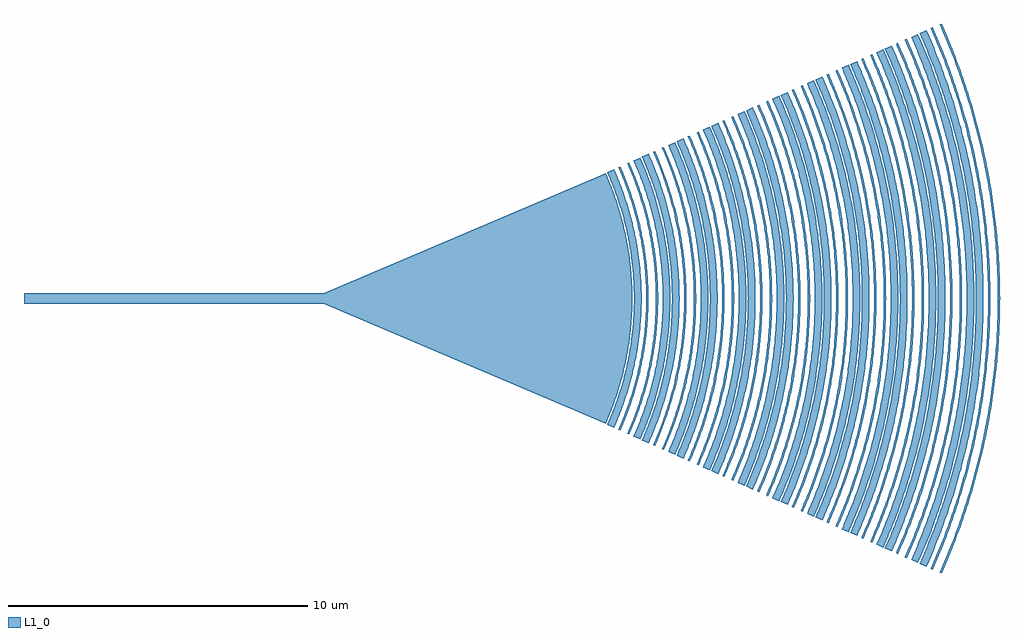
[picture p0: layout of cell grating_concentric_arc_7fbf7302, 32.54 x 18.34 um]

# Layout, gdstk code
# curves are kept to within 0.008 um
import gdstk
lib = gdstk.Library(unit=1e-6, precision=2e-09)
def R(c, l, rs):  # rectangles x0, y0, x1, y1
    for r in rs: c.add(gdstk.rectangle(r[:2], r[2:], *l))
def P(c, l, *ps):  # polygons
    for p in ps: c.add(gdstk.Polygon(p, *l))
L1_0 = (1, 0)

straight_3aa2beef = lib.new_cell('straight_3aa2beef')
R(straight_3aa2beef, L1_0, [(0,-0.174,10,0.174)])

ring_e8b8a9f1_transform_ = lib.new_cell('ring_e8b8a9f1_transform_94132f5b')
P(ring_e8b8a9f1_transform_, L1_0, [(8.222,-3.66),(8.384,-3.274),(8.56,-2.782),(8.694,-2.33),(8.804,-1.872),(8.89,-1.408),(8.946,-0.992),(8.982,-0.576),(9,-0.104),(8.988,0.472),(8.962,0.836),(8.898,1.356),(8.804,1.872),(8.694,2.33),(8.56,2.782),(8.384,3.274),(8.222,3.66),(9.39,4.182),(9.64,3.572),(9.882,2.834),(10.056,2.138),(10.172,1.49),(10.246,0.836),(10.28,0.06),(10.272,-0.418),(10.246,-0.836),(10.172,-1.49),(10.056,-2.138),(9.882,-2.834),(9.64,-3.572),(9.39,-4.182)])

ring_06771d5b_transform_ = lib.new_cell('ring_06771d5b_transform_692c3cdb')
P(ring_06771d5b_transform_, L1_0, [(9.446,-4.206),(9.674,-3.65),(9.834,-3.196),(9.988,-2.676),(10.088,-2.268),(10.182,-1.796),(10.27,-1.2),(10.306,-0.842),(10.336,-0.3),(10.336,0.3),(10.306,0.842),(10.222,1.558),(10.15,1.972),(10.018,2.56),(9.834,3.196),(9.674,3.65),(9.446,4.206),(9.674,4.308),(9.908,3.738),(10.09,3.214),(10.26,2.622),(10.358,2.202),(10.45,1.718),(10.544,0.984),(10.578,0.492),(10.588,-0.184),(10.554,-0.862),(10.478,-1.534),(10.358,-2.202),(10.196,-2.86),(9.972,-3.564),(9.674,-4.308)])

ring_a8151607_transform_ = lib.new_cell('ring_a8151607_transform_0db56127')
P(ring_a8151607_transform_, L1_0, [(9.816,-4.37),(10.01,-3.91),(10.24,-3.262),(10.38,-2.782),(10.512,-2.234),(10.624,-1.62),(10.688,-1.124),(10.732,-0.562),(10.746,-0.126),(10.738,0.438),(10.706,0.936),(10.642,1.496),(10.572,1.928),(10.412,2.66),(10.24,3.262),(10.01,3.91),(9.816,4.37),(9.88,4.4),(10.098,3.876),(10.306,3.282),(10.448,2.8),(10.58,2.248),(10.702,1.568),(10.764,1.068),(10.802,0.566),(10.816,-0.126),(10.79,-0.754),(10.736,-1.318),(10.652,-1.878),(10.51,-2.556),(10.344,-3.162),(10.098,-3.876),(9.88,-4.4)])

ring_b5caab34_transform_ = lib.new_cell('ring_b5caab34_transform_0b0bee7a')
P(ring_b5caab34_transform_, L1_0, [(10.112,-4.502),(10.312,-4.028),(10.548,-3.36),(10.71,-2.802),(10.828,-2.302),(10.924,-1.796),(11.01,-1.158),(11.052,-0.644),(11.07,-0.128),(11.064,0.386),(11.016,1.094),(10.944,1.668),(10.854,2.176),(10.726,2.74),(10.568,3.298),(10.312,4.028),(10.112,4.502),(10.176,4.53),(10.4,3.992),(10.634,3.318),(10.744,2.946),(10.91,2.252),(11.032,1.55),(11.086,1.1),(11.128,0.518),(11.14,-0.064),(11.128,-0.518),(11.072,-1.228),(10.982,-1.87),(10.84,-2.568),(10.672,-3.194),(10.446,-3.87),(10.176,-4.53)])

ring_bc93ac3f_transform_ = lib.new_cell('ring_bc93ac3f_transform_d610876f')
P(ring_bc93ac3f_transform_, L1_0, [(10.32,-4.594),(10.522,-4.11),(10.724,-3.554),(10.912,-2.924),(11.022,-2.478),(11.114,-2.026),(11.196,-1.508),(11.26,-0.92),(11.294,-0.262),(11.294,0.262),(11.26,0.92),(11.178,1.638),(11.064,2.284),(10.912,2.924),(10.724,3.554),(10.522,4.11),(10.32,4.594),(10.548,4.696),(10.804,4.076),(10.982,3.568),(11.136,3.054),(11.322,2.27),(11.444,1.54),(11.514,0.872),(11.544,0.268),(11.544,-0.268),(11.514,-0.872),(11.424,-1.674),(11.322,-2.27),(11.236,-2.662),(11.118,-3.118),(10.982,-3.568),(10.85,-3.95),(10.548,-4.696)])

ring_007bba1b_transform_ = lib.new_cell('ring_007bba1b_transform_ef057e7a')
P(ring_007bba1b_transform_, L1_0, [(10.602,-4.72),(10.836,-4.16),(10.996,-3.714),(11.138,-3.264),(11.294,-2.676),(11.406,-2.148),(11.512,-1.482),(11.568,-0.944),(11.602,-0.338),(11.602,0.338),(11.568,0.944),(11.494,1.616),(11.38,2.28),(11.228,2.938),(11.038,3.586),(10.836,4.16),(10.602,4.72),(10.83,4.822),(11.118,4.12),(11.318,3.532),(11.504,2.868),(11.638,2.262),(11.75,1.582),(11.81,1.034),(11.846,0.482),(11.854,-0.206),(11.822,-0.896),(11.75,-1.582),(11.61,-2.398),(11.416,-3.202),(11.276,-3.664),(11.118,-4.12),(10.83,-4.822)])

ring_eae9a636_transform_ = lib.new_cell('ring_eae9a636_transform_42ac141d')
P(ring_eae9a636_transform_, L1_0, [(10.974,-4.886),(11.24,-4.24),(11.446,-3.646),(11.604,-3.11),(11.736,-2.566),(11.854,-1.948),(11.94,-1.326),(11.984,-0.838),(12.012,-0.14),(12,0.558),(11.954,1.186),(11.906,1.602),(11.806,2.224),(11.656,2.906),(11.468,3.578),(11.24,4.24),(10.974,4.886),(11.038,4.914),(11.28,4.33),(11.492,3.734),(11.652,3.196),(11.804,2.58),(11.934,1.89),(12.024,1.194),(12.07,0.562),(12.082,-0.14),(12.054,-0.842),(11.984,-1.542),(11.874,-2.236),(11.788,-2.65),(11.724,-2.924),(11.574,-3.466),(11.492,-3.734),(11.33,-4.198),(11.038,-4.914)])

ring_3101e963_transform_ = lib.new_cell('ring_3101e963_transform_b743e456')
P(ring_3101e963_transform_, L1_0, [(11.27,-5.018),(11.492,-4.488),(11.688,-3.948),(11.898,-3.262),(12.052,-2.636),(12.174,-2),(12.262,-1.36),(12.312,-0.788),(12.336,-0.144),(12.324,0.574),(12.29,1.076),(12.236,1.574),(12.124,2.284),(11.988,2.914),(11.798,3.606),(11.568,4.286),(11.412,4.688),(11.27,5.018),(11.334,5.046),(11.556,4.514),(11.8,3.834),(11.984,3.21),(12.136,2.58),(12.254,1.94),(12.346,1.226),(12.39,0.65),(12.406,-0.144),(12.386,-0.722),(12.314,-1.512),(12.206,-2.226),(12.072,-2.862),(11.886,-3.558),(11.634,-4.31),(11.334,-5.046)])

ring_5e49e97b_transform_ = lib.new_cell('ring_5e49e97b_transform_8f62fc7f')
P(ring_5e49e97b_transform_, L1_0, [(11.476,-5.11),(11.676,-4.638),(11.926,-3.952),(12.116,-3.322),(12.274,-2.684),(12.36,-2.254),(12.47,-1.532),(12.528,-0.95),(12.562,-0.22),(12.556,0.438),(12.516,1.094),(12.42,1.894),(12.304,2.54),(12.116,3.322),(11.926,3.952),(11.676,4.638),(11.476,5.11),(11.706,5.212),(11.962,4.592),(12.186,3.96),(12.396,3.244),(12.564,2.518),(12.678,1.856),(12.758,1.19),(12.806,0.448),(12.81,-0.298),(12.792,-0.746),(12.758,-1.19),(12.678,-1.856),(12.564,-2.518),(12.396,-3.244),(12.23,-3.818),(12.066,-4.312),(11.908,-4.73),(11.706,-5.212)])

ring_58be20c3_transform_ = lib.new_cell('ring_58be20c3_transform_4397997d')
P(ring_58be20c3_transform_, L1_0, [(11.76,-5.236),(12.018,-4.614),(12.22,-4.05),(12.454,-3.26),(12.56,-2.822),(12.678,-2.236),(12.768,-1.644),(12.842,-0.898),(12.87,-0.3),(12.868,0.374),(12.824,1.122),(12.748,1.792),(12.622,2.53),(12.454,3.26),(12.266,3.906),(12.018,4.614),(11.76,5.236),(11.988,5.338),(12.224,4.774),(12.504,3.982),(12.676,3.396),(12.852,2.654),(12.984,1.902),(13.066,1.22),(13.112,0.534),(13.122,-0.152),(13.096,-0.84),(13.006,-1.75),(12.852,-2.654),(12.676,-3.396),(12.55,-3.836),(12.332,-4.488),(11.988,-5.338)])

ring_f8550d8a_transform_ = lib.new_cell('ring_f8550d8a_transform_9859b82f')
P(ring_f8550d8a_transform_, L1_0, [(12.132,-5.402),(12.398,-4.758),(12.63,-4.104),(12.806,-3.512),(12.99,-2.76),(13.104,-2.154),(13.19,-1.542),(13.262,-0.694),(13.28,0),(13.262,0.694),(13.222,1.234),(13.15,1.848),(13.036,2.534),(12.866,3.288),(12.63,4.104),(12.398,4.758),(12.132,5.402),(12.194,5.43),(12.49,4.712),(12.696,4.126),(12.854,3.604),(13.042,2.852),(13.16,2.242),(13.268,1.472),(13.322,0.854),(13.35,0),(13.322,-0.854),(13.268,-1.472),(13.16,-2.242),(13.042,-2.852),(12.832,-3.68),(12.696,-4.126),(12.544,-4.566),(12.378,-5),(12.194,-5.43)])

ring_60fee977_transform_ = lib.new_cell('ring_60fee977_transform_53982671')
P(ring_60fee977_transform_, L1_0, [(12.426,-5.532),(12.7,-4.874),(12.938,-4.204),(13.14,-3.52),(13.29,-2.906),(13.436,-2.128),(13.52,-1.5),(13.576,-0.87),(13.602,-0.158),(13.598,0.396),(13.552,1.186),(13.46,1.972),(13.354,2.596),(13.18,3.368),(12.938,4.204),(12.7,4.874),(12.426,5.532),(12.49,5.562),(12.794,4.826),(13.004,4.226),(13.228,3.462),(13.358,2.92),(13.492,2.218),(13.598,1.43),(13.64,0.954),(13.662,0.556),(13.672,-0.16),(13.64,-0.954),(13.562,-1.746),(13.452,-2.452),(13.304,-3.154),(13.228,-3.462),(13.076,-3.998),(12.794,-4.826),(12.49,-5.562)])

ring_b4e2fb96_transform_ = lib.new_cell('ring_b4e2fb96_transform_4e3584dc')
P(ring_b4e2fb96_transform_, L1_0, [(12.634,-5.626),(12.912,-4.956),(13.128,-4.35),(13.338,-3.658),(13.494,-3.032),(13.634,-2.322),(13.746,-1.526),(13.802,-0.884),(13.828,-0.242),(13.822,0.482),(13.778,1.206),(13.696,1.924),(13.62,2.402),(13.528,2.876),(13.38,3.502),(13.178,4.198),(12.912,4.956),(12.634,5.626),(12.862,5.726),(13.174,4.97),(13.416,4.272),(13.642,3.486),(13.772,2.928),(13.894,2.284),(13.954,1.878),(14.026,1.228),(14.074,0.41),(14.078,-0.246),(14.04,-1.064),(13.954,-1.878),(13.894,-2.284),(13.772,-2.928),(13.6,-3.644),(13.416,-4.272),(13.286,-4.662),(13.024,-5.35),(12.862,-5.726)])

ring_e11905a8_transform_ = lib.new_cell('ring_e11905a8_transform_e1ec4346')
P(ring_e11905a8_transform_, L1_0, [(12.916,-5.75),(13.2,-5.068),(13.448,-4.37),(13.658,-3.66),(13.796,-3.1),(13.966,-2.212),(14.044,-1.642),(14.116,-0.822),(14.138,-0.246),(14.134,0.412),(14.086,1.232),(14.002,1.968),(13.848,2.86),(13.658,3.66),(13.448,4.37),(13.2,5.068),(12.916,5.75),(13.144,5.852),(13.464,5.078),(13.736,4.286),(13.942,3.562),(14.092,2.91),(14.238,2.086),(14.342,1.17),(14.386,0.334),(14.386,-0.334),(14.342,-1.17),(14.238,-2.086),(14.092,-2.91),(13.92,-3.644),(13.736,-4.286),(13.578,-4.764),(13.342,-5.39),(13.144,-5.852)])

ring_00346ff6_transform_ = lib.new_cell('ring_00346ff6_transform_ac49fc0c')
P(ring_00346ff6_transform_, L1_0, [(13.288,-5.916),(13.61,-5.134),(13.886,-4.334),(14.094,-3.6),(14.246,-2.942),(14.354,-2.36),(14.458,-1.604),(14.522,-0.846),(14.546,-0.084),(14.54,0.424),(14.522,0.846),(14.458,1.604),(14.354,2.36),(14.246,2.942),(14.094,3.6),(13.886,4.334),(13.61,5.134),(13.288,5.916),(13.352,5.944),(13.584,5.396),(13.874,4.598),(13.978,4.274),(14.14,3.7),(14.314,2.956),(14.436,2.286),(14.536,1.528),(14.596,0.764),(14.616,-0.086),(14.596,-0.764),(14.536,-1.528),(14.486,-1.95),(14.394,-2.538),(14.242,-3.288),(14.14,-3.7),(13.978,-4.274),(13.764,-4.918),(13.552,-5.476),(13.352,-5.944)])

ring_620f6f2d_transform_ = lib.new_cell('ring_620f6f2d_transform_a4ff2871')
P(ring_620f6f2d_transform_, L1_0, [(13.584,-6.048),(13.85,-5.41),(14.088,-4.76),(14.318,-4.016),(14.508,-3.26),(14.644,-2.582),(14.77,-1.726),(14.84,-0.95),(14.87,-0.086),(14.858,0.606),(14.806,1.382),(14.7,2.24),(14.58,2.922),(14.386,3.764),(14.142,4.594),(13.882,5.328),(13.584,6.048),(13.648,6.076),(13.948,5.354),(14.182,4.7),(14.408,3.95),(14.496,3.614),(14.63,3.022),(14.756,2.338),(14.858,1.562),(14.924,0.696),(14.94,-0.086),(14.924,-0.696),(14.858,-1.562),(14.756,-2.338),(14.682,-2.766),(14.576,-3.276),(14.496,-3.614),(14.336,-4.202),(14.182,-4.7),(14.068,-5.028),(13.852,-5.596),(13.648,-6.076)])

ring_9ae050b3_transform_ = lib.new_cell('ring_9ae050b3_transform_75cd7a1c')
P(ring_9ae050b3_transform_, L1_0, [(13.792,-6.14),(14.094,-5.41),(14.358,-4.666),(14.582,-3.908),(14.748,-3.224),(14.882,-2.534),(15.004,-1.666),(15.066,-0.966),(15.096,-0.176),(15.076,0.79),(15.014,1.578),(14.924,2.274),(14.802,2.966),(14.69,3.482),(14.582,3.908),(14.358,4.666),(14.094,5.41),(13.792,6.14),(14.02,6.242),(14.262,5.666),(14.568,4.828),(14.824,3.972),(15.03,3.104),(15.158,2.4),(15.272,1.516),(15.334,0.624),(15.346,-0.178),(15.326,-0.804),(15.296,-1.248),(15.184,-2.224),(15.03,-3.104),(14.824,-3.972),(14.65,-4.572),(14.51,-4.996),(14.262,-5.666),(14.02,-6.242)])

ring_f34e3554_transform_ = lib.new_cell('ring_f34e3554_transform_6f5da4bc')
P(ring_f34e3554_transform_, L1_0, [(14.074,-6.266),(14.414,-5.438),(14.68,-4.676),(14.858,-4.074),(15.07,-3.204),(15.188,-2.586),(15.302,-1.788),(15.374,-0.986),(15.404,-0.268),(15.4,0.448),(15.362,1.164),(15.302,1.788),(15.188,2.586),(15.07,3.204),(14.97,3.64),(14.81,4.246),(14.68,4.676),(14.414,5.438),(14.074,6.266),(14.302,6.368),(14.616,5.61),(14.918,4.752),(15.146,3.964),(15.332,3.166),(15.434,2.628),(15.504,2.178),(15.58,1.546),(15.624,1.002),(15.646,0.546),(15.654,-0.274),(15.604,-1.274),(15.504,-2.178),(15.368,-2.988),(15.146,-3.964),(14.918,-4.752),(14.712,-5.354),(14.482,-5.95),(14.302,-6.368)])

ring_a82c986b_transform_ = lib.new_cell('ring_a82c986b_transform_cc20e010')
P(ring_a82c986b_transform_, L1_0, [(14.446,-6.432),(14.696,-5.838),(15.01,-4.974),(15.25,-4.182),(15.448,-3.378),(15.604,-2.564),(15.706,-1.836),(15.786,-0.92),(15.812,-0.184),(15.796,0.736),(15.736,1.562),(15.646,2.292),(15.522,3.018),(15.342,3.826),(15.148,4.536),(15.01,4.974),(14.828,5.494),(14.662,5.924),(14.446,6.432),(14.51,6.46),(14.828,5.692),(15.134,4.82),(15.342,4.11),(15.536,3.302),(15.672,2.576),(15.796,1.66),(15.866,0.738),(15.882,-0.184),(15.87,-0.646),(15.844,-1.108),(15.764,-1.936),(15.672,-2.576),(15.608,-2.94),(15.476,-3.572),(15.342,-4.11),(15.216,-4.556),(14.956,-5.346),(14.726,-5.95),(14.51,-6.46)])

ring_b4c252ff_transform_ = lib.new_cell('ring_b4c252ff_transform_61c2fb31')
P(ring_b4c252ff_transform_, L1_0, [(14.742,-6.564),(14.996,-5.958),(15.318,-5.076),(15.512,-4.448),(15.744,-3.538),(15.908,-2.71),(16.028,-1.874),(16.104,-1.032),(16.136,-0.188),(16.13,0.47),(16.114,0.844),(16.058,1.594),(15.98,2.246),(15.908,2.71),(15.822,3.172),(15.634,3.994),(15.512,4.448),(15.376,4.896),(15.098,5.694),(14.742,6.564),(14.804,6.592),(15.062,5.984),(15.384,5.098),(15.63,4.286),(15.748,3.83),(15.872,3.278),(16.022,2.442),(16.118,1.694),(16.184,0.848),(16.2,0.472),(16.206,-0.094),(16.184,-0.848),(16.108,-1.788),(15.992,-2.628),(15.812,-3.554),(15.63,-4.286),(15.526,-4.648),(15.324,-5.276),(15.062,-5.984),(14.844,-6.506),(14.804,-6.592)])

ring_16d89539_transform_ = lib.new_cell('ring_16d89539_transform_944d734a')
P(ring_16d89539_transform_, L1_0, [(14.948,-6.656),(15.172,-6.13),(15.344,-5.686),(15.592,-4.966),(15.806,-4.236),(15.986,-3.496),(16.162,-2.56),(16.264,-1.806),(16.336,-0.952),(16.362,-0.19),(16.35,0.666),(16.308,1.332),(16.23,2.088),(16.098,2.936),(15.9,3.866),(15.806,4.236),(15.592,4.966),(15.344,5.686),(15.172,6.13),(14.948,6.656),(15.176,6.756),(15.51,5.954),(15.83,5.042),(16.072,4.206),(16.27,3.36),(16.438,2.408),(16.532,1.64),(16.59,0.87),(16.612,0.194),(16.612,-0.194),(16.566,-1.256),(16.464,-2.216),(16.308,-3.17),(16.072,-4.206),(15.83,-5.042),(15.676,-5.5),(15.51,-5.954),(15.176,-6.756)])

ring_65b91cee_transform_ = lib.new_cell('ring_65b91cee_transform_d9c8776c')
P(ring_65b91cee_transform_, L1_0, [(15.23,-6.782),(15.53,-6.066),(15.796,-5.336),(16.054,-4.502),(16.288,-3.562),(16.42,-2.896),(16.56,-1.936),(16.632,-1.164),(16.672,-0.194),(16.666,0.484),(16.618,1.356),(16.524,2.224),(16.42,2.896),(16.288,3.562),(16.178,4.034),(15.916,4.968),(15.566,5.974),(15.23,6.782),(15.46,6.882),(15.834,5.972),(16.154,5.042),(16.396,4.19),(16.592,3.326),(16.744,2.452),(16.84,1.67),(16.904,0.788),(16.922,-0.196),(16.888,-1.082),(16.84,-1.67),(16.784,-2.16),(16.714,-2.648),(16.612,-3.228),(16.396,-4.19),(16.212,-4.854),(15.936,-5.696),(15.69,-6.34),(15.46,-6.882)])

ring_c44c12f8_transform_ = lib.new_cell('ring_c44c12f8_transform_bd4287aa')
P(ring_c44c12f8_transform_, L1_0, [(15.602,-6.946),(15.836,-6.398),(15.98,-6.028),(16.244,-5.278),(16.498,-4.42),(16.706,-3.55),(16.82,-2.966),(16.884,-2.574),(16.986,-1.786),(17.056,-0.894),(17.08,0),(17.056,0.894),(17.006,1.588),(16.94,2.18),(16.884,2.574),(16.766,3.258),(16.596,4.036),(16.39,4.804),(16.244,5.278),(16.05,5.842),(15.836,6.398),(15.602,6.946),(15.666,6.976),(16.01,6.146),(16.31,5.3),(16.512,4.63),(16.616,4.246),(16.774,3.566),(16.954,2.584),(17.066,1.694),(17.126,0.898),(17.144,0.4),(17.148,-0.2),(17.108,-1.196),(17.022,-2.09),(16.906,-2.88),(16.71,-3.858),(16.512,-4.63),(16.37,-5.11),(16.182,-5.678),(15.938,-6.332),(15.666,-6.976)])

ring_25ef86f9_transform_ = lib.new_cell('ring_25ef86f9_transform_b71f33bc')
P(ring_25ef86f9_transform_, L1_0, [(15.898,-7.078),(16.174,-6.426),(16.354,-5.952),(16.552,-5.378),(16.784,-4.602),(17.002,-3.718),(17.156,-2.922),(17.286,-2.02),(17.368,-1.112),(17.402,-0.202),(17.402,0.202),(17.384,0.81),(17.328,1.618),(17.22,2.522),(17.084,3.32),(16.98,3.816),(16.862,4.308),(16.672,4.992),(16.552,5.378),(16.354,5.952),(16.136,6.52),(15.898,7.078),(15.962,7.106),(16.276,6.356),(16.454,5.88),(16.618,5.4),(16.768,4.914),(16.904,4.424),(17.112,3.534),(17.274,2.632),(17.398,1.624),(17.454,0.812),(17.472,0.204),(17.472,-0.204),(17.444,-1.016),(17.366,-1.928),(17.242,-2.834),(17.152,-3.334),(17.048,-3.832),(16.904,-4.424),(16.768,-4.914),(16.618,-5.4),(16.454,-5.88),(16.238,-6.452),(15.962,-7.106)])

ring_e166c71f_transform_ = lib.new_cell('ring_e166c71f_transform_69747f9b')
P(ring_e166c71f_transform_, L1_0, [(16.106,-7.17),(16.496,-6.222),(16.798,-5.35),(17.056,-4.464),(17.266,-3.564),(17.444,-2.556),(17.544,-1.74),(17.606,-0.922),(17.63,-0.102),(17.622,0.512),(17.572,1.434),(17.486,2.25),(17.38,2.96),(17.178,3.966),(17.056,4.464),(16.86,5.154),(16.496,6.222),(16.106,7.17),(16.334,7.272),(16.692,6.408),(16.872,5.92),(17.036,5.426),(17.27,4.628),(17.398,4.124),(17.51,3.616),(17.676,2.694),(17.792,1.766),(17.86,0.832),(17.878,-0.208),(17.836,-1.248),(17.734,-2.282),(17.59,-3.208),(17.374,-4.224),(17.216,-4.828),(16.972,-5.624),(16.692,-6.408),(16.418,-7.082),(16.334,-7.272)])

ring_52a90c4a_transform_ = lib.new_cell('ring_52a90c4a_transform_398c79d3')
P(ring_52a90c4a_transform_, L1_0, [(16.388,-7.296),(16.672,-6.624),(16.996,-5.742),(17.216,-5.044),(17.48,-4.036),(17.666,-3.116),(17.806,-2.186),(17.896,-1.252),(17.938,-0.208),(17.932,0.522),(17.896,1.252),(17.806,2.186),(17.702,2.91),(17.59,3.526),(17.48,4.036),(17.216,5.044),(17.062,5.544),(16.822,6.234),(16.554,6.914),(16.388,7.296),(16.616,7.398),(16.904,6.716),(17.266,5.722),(17.57,4.708),(17.814,3.678),(17.982,2.74),(18.09,1.902),(18.17,0.846),(18.188,-0.212),(18.17,-0.846),(18.12,-1.586),(18.012,-2.532),(17.948,-2.95),(17.814,-3.678),(17.596,-4.606),(17.394,-5.318),(17.164,-6.022),(16.904,-6.716),(16.66,-7.302),(16.616,-7.398)])

ring_f13e8595_transform_ = lib.new_cell('ring_f13e8595_transform_1ce6f44b')
P(ring_f13e8595_transform_, L1_0, [(16.76,-7.462),(17.128,-6.574),(17.448,-5.67),(17.692,-4.852),(17.9,-4.022),(18.086,-3.08),(18.222,-2.13),(18.308,-1.174),(18.338,-0.534),(18.346,-0.106),(18.326,0.854),(18.294,1.386),(18.246,1.918),(18.12,2.87),(17.988,3.606),(17.852,4.23),(17.606,5.16),(17.448,5.67),(17.24,6.274),(17.05,6.774),(16.76,7.462),(16.824,7.49),(17.034,6.998),(17.268,6.4),(17.58,5.486),(17.816,4.662),(18.036,3.724),(18.206,2.774),(18.326,1.818),(18.396,0.856),(18.416,-0.108),(18.408,-0.536),(18.378,-1.178),(18.304,-2.032),(18.172,-2.986),(18.078,-3.514),(17.968,-4.038),(17.732,-4.972),(17.58,-5.486),(17.378,-6.096),(17.154,-6.7),(16.824,-7.49)])

ring_540236df_transform_ = lib.new_cell('ring_540236df_transform_f0533899')
P(ring_540236df_transform_, L1_0, [(17.056,-7.594),(17.43,-6.69),(17.756,-5.77),(18.034,-4.832),(18.262,-3.882),(18.44,-2.92),(18.568,-1.952),(18.644,-0.978),(18.67,-0.108),(18.65,0.868),(18.608,1.518),(18.568,1.952),(18.44,2.92),(18.306,3.668),(18.088,4.622),(17.886,5.354),(17.688,5.976),(17.544,6.386),(17.31,6.994),(17.056,7.594),(17.12,7.622),(17.334,7.12),(17.534,6.614),(17.856,5.686),(18.014,5.166),(18.156,4.64),(18.33,3.896),(18.436,3.362),(18.526,2.824),(18.648,1.85),(18.714,0.98),(18.74,0),(18.732,-0.546),(18.708,-1.09),(18.678,-1.524),(18.624,-2.068),(18.492,-3.04),(18.416,-3.468),(18.284,-4.11),(18.156,-4.64),(18.014,-5.166),(17.856,-5.686),(17.61,-6.41),(17.416,-6.918),(17.12,-7.622)])

ring_b5905f62_transform_ = lib.new_cell('ring_b5905f62_transform_e25a6175')
P(ring_b5905f62_transform_, L1_0, [(17.262,-7.686),(17.602,-6.874),(17.972,-5.84),(18.224,-4.996),(18.362,-4.464),(18.484,-3.928),(18.628,-3.172),(18.756,-2.302),(18.858,-1.208),(18.894,-0.33),(18.888,0.55),(18.834,1.538),(18.756,2.302),(18.628,3.172),(18.506,3.822),(18.362,4.464),(18.102,5.42),(17.902,6.048),(17.68,6.67),(17.262,7.686),(17.49,7.788),(17.834,6.966),(18.174,6.022),(18.342,5.492),(18.494,4.956),(18.728,3.98),(18.816,3.544),(18.928,2.886),(19.03,2.112),(19.092,1.446),(19.126,0.89),(19.146,-0.112),(19.126,-0.89),(19.1,-1.336),(19.004,-2.334),(18.928,-2.886),(18.816,-3.544),(18.578,-4.632),(18.374,-5.384),(18.174,-6.022),(17.914,-6.758),(17.58,-7.584),(17.49,-7.788)])

ring_27328bea_transform_ = lib.new_cell('ring_27328bea_transform_4421e16f')
P(ring_27328bea_transform_, L1_0, [(17.546,-7.812),(17.97,-6.778),(18.266,-5.934),(18.552,-4.97),(18.786,-3.994),(18.952,-3.114),(19.076,-2.23),(19.174,-1.116),(19.206,-0.112),(19.19,0.782),(19.142,1.562),(19.034,2.562),(18.914,3.336),(18.786,3.994),(18.636,4.646),(18.334,5.722),(18.16,6.252),(17.97,6.778),(17.546,7.812),(17.774,7.914),(18.164,6.972),(18.504,6.012),(18.822,4.926),(19.054,3.934),(19.234,2.932),(19.372,1.808),(19.44,0.792),(19.456,-0.114),(19.416,-1.244),(19.372,-1.808),(19.282,-2.596),(19.12,-3.602),(18.878,-4.706),(18.67,-5.472),(18.396,-6.334),(18.164,-6.972),(17.82,-7.81),(17.774,-7.914)])

ring_2410486f_transform_ = lib.new_cell('ring_2410486f_transform_c2626cdb')
P(ring_2410486f_transform_, L1_0, [(17.916,-7.978),(18.142,-7.452),(18.31,-7.028),(18.544,-6.386),(18.688,-5.952),(18.974,-4.966),(19.16,-4.19),(19.334,-3.294),(19.406,-2.842),(19.48,-2.276),(19.538,-1.71),(19.58,-1.14),(19.612,-0.114),(19.596,0.798),(19.528,1.822),(19.406,2.842),(19.334,3.294),(19.208,3.966),(18.974,4.966),(18.756,5.734),(18.544,6.386),(18.35,6.922),(18.142,7.452),(17.916,7.978),(17.98,8.006),(18.206,7.48),(18.416,6.946),(18.754,5.974),(19.012,5.094),(19.152,4.54),(19.276,3.98),(19.384,3.418),(19.458,2.966),(19.522,2.512),(19.586,1.944),(19.656,1.03),(19.68,0.344),(19.682,-0.114),(19.656,-1.03),(19.608,-1.716),(19.55,-2.284),(19.458,-2.966),(19.384,-3.418),(19.204,-4.316),(19.07,-4.872),(18.92,-5.426),(18.61,-6.408),(18.334,-7.16),(17.98,-8.006)])

ring_587c2e3d_transform_ = lib.new_cell('ring_587c2e3d_transform_aabbcacf')
P(ring_587c2e3d_transform_, L1_0, [(18.212,-8.108),(18.528,-7.36),(18.888,-6.38),(19.196,-5.384),(19.316,-4.936),(19.476,-4.258),(19.634,-3.462),(19.726,-2.89),(19.802,-2.314),(19.896,-1.274),(19.92,-0.812),(19.936,-0.116),(19.92,0.812),(19.896,1.274),(19.85,1.854),(19.802,2.314),(19.726,2.89),(19.548,3.918),(19.372,4.71),(19.132,5.606),(18.888,6.38),(18.694,6.928),(18.44,7.576),(18.212,8.108),(18.276,8.138),(18.678,7.17),(18.878,6.624),(19.098,5.96),(19.384,4.952),(19.494,4.5),(19.616,3.932),(19.742,3.244),(19.812,2.784),(19.92,1.86),(19.99,0.814),(20.006,-0.116),(19.998,-0.582),(19.972,-1.164),(19.94,-1.628),(19.884,-2.206),(19.828,-2.668),(19.742,-3.244),(19.616,-3.932),(19.494,-4.5),(19.354,-5.066),(19.166,-5.738),(18.878,-6.624),(18.636,-7.278),(18.276,-8.138)])

ring_ada69cdb_transform_ = lib.new_cell('ring_ada69cdb_transform_08e6c204')
P(ring_ada69cdb_transform_, L1_0, [(18.42,-8.2),(18.782,-7.336),(19.14,-6.342),(19.316,-5.782),(19.476,-5.218),(19.698,-4.306),(19.896,-3.27),(20.04,-2.224),(20.122,-1.29),(20.162,-0.234),(20.158,0.47),(20.106,1.524),(19.998,2.574),(19.836,3.616),(19.698,4.306),(19.536,4.992),(19.248,6.008),(18.866,7.116),(18.606,7.77),(18.42,8.2),(18.648,8.302),(19.056,7.316),(19.262,6.758),(19.486,6.082),(19.778,5.054),(20.014,4.012),(20.18,3.076),(20.246,2.606),(20.324,1.898),(20.396,0.832),(20.412,-0.238),(20.396,-0.832),(20.354,-1.542),(20.246,-2.606),(20.162,-3.194),(20.038,-3.894),(19.942,-4.36),(19.778,-5.054),(19.486,-6.082),(19.262,-6.758),(19.014,-7.426),(18.744,-8.084),(18.648,-8.302)])

ring_af13db3c_transform_ = lib.new_cell('ring_af13db3c_transform_4eadb328')
P(ring_af13db3c_transform_, L1_0, [(18.702,-8.326),(19.07,-7.448),(19.434,-6.44),(19.744,-5.414),(19.974,-4.49),(20.162,-3.554),(20.32,-2.494),(20.414,-1.546),(20.456,-0.834),(20.47,-0.358),(20.464,0.596),(20.414,1.546),(20.32,2.494),(20.162,3.554),(19.948,4.606),(19.806,5.184),(19.578,5.986),(19.238,7.002),(18.982,7.67),(18.702,8.326),(18.93,8.428),(19.346,7.426),(19.708,6.404),(20.016,5.364),(20.27,4.308),(20.448,3.36),(20.596,2.286),(20.654,1.686),(20.694,1.084),(20.714,0.602),(20.722,-0.12),(20.71,-0.724),(20.68,-1.326),(20.644,-1.806),(20.568,-2.526),(20.408,-3.598),(20.27,-4.308),(20.136,-4.896),(19.92,-5.712),(19.708,-6.404),(19.472,-7.088),(19.122,-7.986),(18.93,-8.428)])

ring_f7a3ee37_transform_ = lib.new_cell('ring_f7a3ee37_transform_4ace6b21')
P(ring_f7a3ee37_transform_, L1_0, [(19.074,-8.492),(19.448,-7.596),(19.82,-6.568),(20.136,-5.522),(20.288,-4.934),(20.396,-4.46),(20.496,-3.984),(20.622,-3.266),(20.752,-2.304),(20.8,-1.82),(20.844,-1.214),(20.878,-0.242),(20.878,0.242),(20.862,0.85),(20.8,1.82),(20.752,2.304),(20.676,2.906),(20.496,3.984),(20.288,4.934),(20.136,5.522),(20.002,5.988),(19.82,6.568),(19.536,7.368),(19.22,8.158),(19.074,8.492),(19.138,8.52),(19.378,7.96),(19.558,7.508),(19.768,6.936),(19.924,6.474),(20.104,5.892),(20.266,5.304),(20.384,4.832),(20.516,4.236),(20.652,3.518),(20.728,3.036),(20.808,2.432),(20.858,1.948),(20.898,1.462),(20.932,0.852),(20.948,0.244),(20.948,-0.244),(20.914,-1.218),(20.88,-1.704),(20.808,-2.432),(20.652,-3.518),(20.564,-3.998),(20.412,-4.712),(20.266,-5.304),(20.104,-5.892),(19.768,-6.936),(19.424,-7.848),(19.138,-8.52)])

ring_70318d43_transform_ = lib.new_cell('ring_70318d43_transform_480a79fb')
P(ring_70318d43_transform_, L1_0, [(19.37,-8.624),(19.75,-7.714),(20.088,-6.786),(20.276,-6.2),(20.448,-5.606),(20.632,-4.89),(20.714,-4.528),(20.902,-3.56),(21.06,-2.462),(21.16,-1.356),(21.202,-0.246),(21.19,0.74),(21.16,1.356),(21.122,1.848),(21.014,2.828),(20.902,3.56),(20.814,4.046),(20.632,4.89),(20.48,5.488),(20.312,6.08),(20.088,6.786),(19.882,7.368),(19.612,8.056),(19.37,8.624),(19.434,8.652),(19.63,8.198),(19.86,7.624),(20.032,7.16),(20.27,6.456),(20.58,5.386),(20.728,4.786),(20.858,4.18),(20.95,3.694),(21.066,2.96),(21.192,1.854),(21.26,0.742),(21.272,-0.248),(21.25,-0.99),(21.212,-1.608),(21.114,-2.592),(21.03,-3.206),(20.95,-3.694),(20.728,-4.786),(20.58,-5.386),(20.414,-5.982),(20.232,-6.574),(20.032,-7.16),(19.77,-7.854),(19.434,-8.652)])

ring_b1a0f46a_transform_ = lib.new_cell('ring_b1a0f46a_transform_195b6b4b')
P(ring_b1a0f46a_transform_, L1_0, [(19.576,-8.716),(20.006,-7.68),(20.342,-6.74),(20.634,-5.786),(20.908,-4.698),(21.126,-3.598),(21.27,-2.612),(21.378,-1.494),(21.412,-0.872),(21.428,-0.25),(21.412,0.872),(21.348,1.868),(21.238,2.858),(21.104,3.722),(21.012,4.212),(20.852,4.942),(20.7,5.546),(20.53,6.146),(20.342,6.74),(20.094,7.446),(19.822,8.144),(19.576,8.716),(19.804,8.818),(20.24,7.77),(20.618,6.7),(20.908,5.732),(21.066,5.122),(21.232,4.384),(21.432,3.266),(21.518,2.642),(21.586,2.016),(21.662,0.882),(21.678,-0.252),(21.662,-0.882),(21.618,-1.638),(21.502,-2.768),(21.328,-3.888),(21.206,-4.508),(21.036,-5.244),(20.84,-5.976),(20.578,-6.82),(20.24,-7.77),(19.956,-8.47),(19.804,-8.818)])

ring_d00c9bf6_transform_ = lib.new_cell('ring_d00c9bf6_transform_ea9a1e0c')
P(ring_d00c9bf6_transform_, L1_0, [(19.86,-8.842),(20.25,-7.908),(20.636,-6.838),(20.932,-5.87),(21.094,-5.26),(21.238,-4.644),(21.452,-3.526),(21.592,-2.524),(21.686,-1.516),(21.716,-1.012),(21.738,-0.252),(21.726,0.758),(21.656,1.894),(21.528,3.026),(21.364,4.024),(21.238,4.644),(21.094,5.26),(20.932,5.87),(20.714,6.598),(20.34,7.672),(20.156,8.144),(19.86,8.842),(20.088,8.944),(20.34,8.356),(20.574,7.76),(20.952,6.674),(21.24,5.692),(21.426,4.946),(21.56,4.322),(21.738,3.314),(21.84,2.552),(21.894,2.044),(21.936,1.534),(21.976,0.768),(21.988,-0.256),(21.976,-0.768),(21.936,-1.534),(21.882,-2.172),(21.792,-2.934),(21.698,-3.566),(21.56,-4.322),(21.336,-5.32),(21.172,-5.938),(20.952,-6.674),(20.706,-7.4),(20.34,-8.356),(20.088,-8.944)])

ring_209a6a79_transform_ = lib.new_cell('ring_209a6a79_transform_42e7f390')
P(ring_209a6a79_transform_, L1_0, [(20.23,-9.008),(20.628,-8.056),(20.854,-7.452),(21.062,-6.844),(21.358,-5.856),(21.488,-5.358),(21.662,-4.604),(21.786,-3.972),(21.912,-3.21),(22.038,-2.186),(22.116,-1.16),(22.146,-0.128),(22.14,0.516),(22.116,1.16),(22.038,2.186),(21.912,3.21),(21.714,4.352),(21.488,5.358),(21.216,6.352),(21.022,6.966),(20.766,7.696),(20.484,8.416),(20.23,9.008),(20.294,9.036),(20.5,8.562),(20.74,7.962),(20.92,7.476),(21.168,6.742),(21.492,5.624),(21.73,4.618),(21.832,4.112),(21.942,3.476),(22.034,2.836),(22.094,2.322),(22.162,1.55),(22.192,1.034),(22.216,0),(22.192,-1.034),(22.162,-1.55),(22.094,-2.322),(22,-3.092),(21.922,-3.602),(21.808,-4.238),(21.702,-4.746),(21.556,-5.374),(21.39,-6),(21.168,-6.742),(20.92,-7.476),(20.598,-8.322),(20.294,-9.036)])

ring_1d8f5ba2_transform_ = lib.new_cell('ring_1d8f5ba2_transform_cf866fc2')
P(ring_1d8f5ba2_transform_, L1_0, [(20.526,-9.14),(20.834,-8.418),(21.024,-7.93),(21.37,-6.944),(21.526,-6.444),(21.738,-5.69),(21.978,-4.672),(22.172,-3.644),(22.286,-2.868),(22.36,-2.218),(22.432,-1.306),(22.464,-0.522),(22.47,0),(22.464,0.522),(22.432,1.306),(22.36,2.218),(22.232,3.256),(22.128,3.902),(22.032,4.416),(21.894,5.054),(21.738,5.69),(21.488,6.57),(21.288,7.192),(21.07,7.808),(20.834,8.418),(20.526,9.14),(20.59,9.168),(20.798,8.686),(21.042,8.078),(21.396,7.09),(21.63,6.338),(21.772,5.834),(21.932,5.198),(22.074,4.558),(22.262,3.526),(22.338,3.006),(22.416,2.356),(22.454,1.964),(22.508,1.18),(22.53,0.656),(22.54,0),(22.53,-0.656),(22.508,-1.18),(22.454,-1.964),(22.402,-2.486),(22.302,-3.266),(22.22,-3.784),(22.1,-4.43),(21.962,-5.07),(21.772,-5.834),(21.63,-6.338),(21.312,-7.338),(21.042,-8.078),(20.644,-9.048),(20.59,-9.168)])

grating_concentric_arc_7 = lib.new_cell('grating_concentric_arc_7fbf7302')
P(grating_concentric_arc_7, L1_0, [(0,0.174),(0,-0.174),(9.134,-4.066),(9.368,-3.502),(9.538,-3.008),(9.66,-2.588),(9.782,-2.08),(9.878,-1.564),(9.946,-1.044),(9.986,-0.524),(10,-0.086),(9.986,0.524),(9.946,1.044),(9.878,1.564),(9.782,2.08),(9.66,2.588),(9.538,3.008),(9.368,3.502),(9.134,4.066)])
grating_concentric_arc_7.add(gdstk.Reference(straight_3aa2beef, (-10,0)))
grating_concentric_arc_7.add(gdstk.Reference(ring_e8b8a9f1_transform_, (0,0)))
grating_concentric_arc_7.add(gdstk.Reference(ring_06771d5b_transform_, (0,0)))
grating_concentric_arc_7.add(gdstk.Reference(ring_a8151607_transform_, (0,0)))
grating_concentric_arc_7.add(gdstk.Reference(ring_b5caab34_transform_, (0,0)))
grating_concentric_arc_7.add(gdstk.Reference(ring_bc93ac3f_transform_, (0,0)))
grating_concentric_arc_7.add(gdstk.Reference(ring_007bba1b_transform_, (0,0)))
grating_concentric_arc_7.add(gdstk.Reference(ring_eae9a636_transform_, (0,0)))
grating_concentric_arc_7.add(gdstk.Reference(ring_3101e963_transform_, (0,0)))
grating_concentric_arc_7.add(gdstk.Reference(ring_5e49e97b_transform_, (0,0)))
grating_concentric_arc_7.add(gdstk.Reference(ring_58be20c3_transform_, (0,0)))
grating_concentric_arc_7.add(gdstk.Reference(ring_f8550d8a_transform_, (0,0)))
grating_concentric_arc_7.add(gdstk.Reference(ring_60fee977_transform_, (0,0)))
grating_concentric_arc_7.add(gdstk.Reference(ring_b4e2fb96_transform_, (0,0)))
grating_concentric_arc_7.add(gdstk.Reference(ring_e11905a8_transform_, (0,0)))
grating_concentric_arc_7.add(gdstk.Reference(ring_00346ff6_transform_, (0,0)))
grating_concentric_arc_7.add(gdstk.Reference(ring_620f6f2d_transform_, (0,0)))
grating_concentric_arc_7.add(gdstk.Reference(ring_9ae050b3_transform_, (0,0)))
grating_concentric_arc_7.add(gdstk.Reference(ring_f34e3554_transform_, (0,0)))
grating_concentric_arc_7.add(gdstk.Reference(ring_a82c986b_transform_, (0,0)))
grating_concentric_arc_7.add(gdstk.Reference(ring_b4c252ff_transform_, (0,0)))
grating_concentric_arc_7.add(gdstk.Reference(ring_16d89539_transform_, (0,0)))
grating_concentric_arc_7.add(gdstk.Reference(ring_65b91cee_transform_, (0,0)))
grating_concentric_arc_7.add(gdstk.Reference(ring_c44c12f8_transform_, (0,0)))
grating_concentric_arc_7.add(gdstk.Reference(ring_25ef86f9_transform_, (0,0)))
grating_concentric_arc_7.add(gdstk.Reference(ring_e166c71f_transform_, (0,0)))
grating_concentric_arc_7.add(gdstk.Reference(ring_52a90c4a_transform_, (0,0)))
grating_concentric_arc_7.add(gdstk.Reference(ring_f13e8595_transform_, (0,0)))
grating_concentric_arc_7.add(gdstk.Reference(ring_540236df_transform_, (0,0)))
grating_concentric_arc_7.add(gdstk.Reference(ring_b5905f62_transform_, (0,0)))
grating_concentric_arc_7.add(gdstk.Reference(ring_27328bea_transform_, (0,0)))
grating_concentric_arc_7.add(gdstk.Reference(ring_2410486f_transform_, (0,0)))
grating_concentric_arc_7.add(gdstk.Reference(ring_587c2e3d_transform_, (0,0)))
grating_concentric_arc_7.add(gdstk.Reference(ring_ada69cdb_transform_, (0,0)))
grating_concentric_arc_7.add(gdstk.Reference(ring_af13db3c_transform_, (0,0)))
grating_concentric_arc_7.add(gdstk.Reference(ring_f7a3ee37_transform_, (0,0)))
grating_concentric_arc_7.add(gdstk.Reference(ring_70318d43_transform_, (0,0)))
grating_concentric_arc_7.add(gdstk.Reference(ring_b1a0f46a_transform_, (0,0)))
grating_concentric_arc_7.add(gdstk.Reference(ring_d00c9bf6_transform_, (0,0)))
grating_concentric_arc_7.add(gdstk.Reference(ring_209a6a79_transform_, (0,0)))
grating_concentric_arc_7.add(gdstk.Reference(ring_1d8f5ba2_transform_, (0,0)))

lib.write_gds('grating_concentric_arc_7fbf7302.gds')
